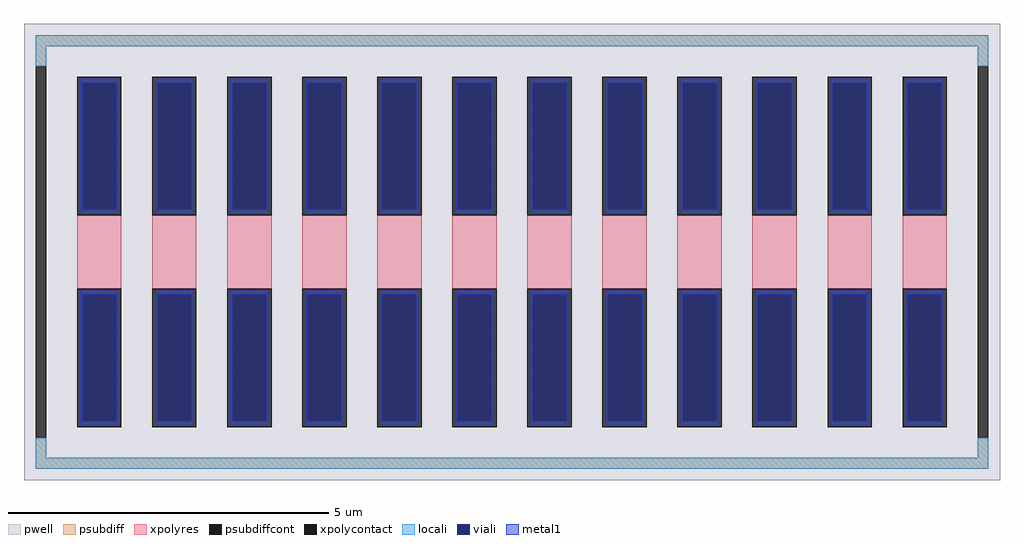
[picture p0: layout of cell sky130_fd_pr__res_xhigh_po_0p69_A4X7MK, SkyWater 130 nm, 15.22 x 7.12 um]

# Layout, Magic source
magic
tech sky130A
magscale 1 2
<< pwell >>
rect -1522 -712 1522 712
<< psubdiff >>
rect -1486 642 1486 676
rect -1486 580 -1452 642
rect 1452 580 1486 642
rect -1486 -642 -1452 -580
rect 1452 -642 1486 -580
rect -1486 -676 1486 -642
<< psubdiffcont >>
rect -1486 -580 -1452 580
rect 1452 -580 1486 580
<< xpolycontact >>
rect -1356 114 -1218 546
rect -1356 -546 -1218 -114
rect -1122 114 -984 546
rect -1122 -546 -984 -114
rect -888 114 -750 546
rect -888 -546 -750 -114
rect -654 114 -516 546
rect -654 -546 -516 -114
rect -420 114 -282 546
rect -420 -546 -282 -114
rect -186 114 -48 546
rect -186 -546 -48 -114
rect 48 114 186 546
rect 48 -546 186 -114
rect 282 114 420 546
rect 282 -546 420 -114
rect 516 114 654 546
rect 516 -546 654 -114
rect 750 114 888 546
rect 750 -546 888 -114
rect 984 114 1122 546
rect 984 -546 1122 -114
rect 1218 114 1356 546
rect 1218 -546 1356 -114
<< xpolyres >>
rect -1356 -114 -1218 114
rect -1122 -114 -984 114
rect -888 -114 -750 114
rect -654 -114 -516 114
rect -420 -114 -282 114
rect -186 -114 -48 114
rect 48 -114 186 114
rect 282 -114 420 114
rect 516 -114 654 114
rect 750 -114 888 114
rect 984 -114 1122 114
rect 1218 -114 1356 114
<< locali >>
rect -1486 642 1486 676
rect -1486 580 -1452 642
rect 1452 580 1486 642
rect -1486 -642 -1452 -580
rect 1452 -642 1486 -580
rect -1486 -676 1486 -642
<< viali >>
rect -1340 131 -1234 528
rect -1106 131 -1000 528
rect -872 131 -766 528
rect -638 131 -532 528
rect -404 131 -298 528
rect -170 131 -64 528
rect 64 131 170 528
rect 298 131 404 528
rect 532 131 638 528
rect 766 131 872 528
rect 1000 131 1106 528
rect 1234 131 1340 528
rect -1340 -528 -1234 -131
rect -1106 -528 -1000 -131
rect -872 -528 -766 -131
rect -638 -528 -532 -131
rect -404 -528 -298 -131
rect -170 -528 -64 -131
rect 64 -528 170 -131
rect 298 -528 404 -131
rect 532 -528 638 -131
rect 766 -528 872 -131
rect 1000 -528 1106 -131
rect 1234 -528 1340 -131
<< metal1 >>
rect -1346 528 -1228 540
rect -1346 131 -1340 528
rect -1234 131 -1228 528
rect -1346 119 -1228 131
rect -1112 528 -994 540
rect -1112 131 -1106 528
rect -1000 131 -994 528
rect -1112 119 -994 131
rect -878 528 -760 540
rect -878 131 -872 528
rect -766 131 -760 528
rect -878 119 -760 131
rect -644 528 -526 540
rect -644 131 -638 528
rect -532 131 -526 528
rect -644 119 -526 131
rect -410 528 -292 540
rect -410 131 -404 528
rect -298 131 -292 528
rect -410 119 -292 131
rect -176 528 -58 540
rect -176 131 -170 528
rect -64 131 -58 528
rect -176 119 -58 131
rect 58 528 176 540
rect 58 131 64 528
rect 170 131 176 528
rect 58 119 176 131
rect 292 528 410 540
rect 292 131 298 528
rect 404 131 410 528
rect 292 119 410 131
rect 526 528 644 540
rect 526 131 532 528
rect 638 131 644 528
rect 526 119 644 131
rect 760 528 878 540
rect 760 131 766 528
rect 872 131 878 528
rect 760 119 878 131
rect 994 528 1112 540
rect 994 131 1000 528
rect 1106 131 1112 528
rect 994 119 1112 131
rect 1228 528 1346 540
rect 1228 131 1234 528
rect 1340 131 1346 528
rect 1228 119 1346 131
rect -1346 -131 -1228 -119
rect -1346 -528 -1340 -131
rect -1234 -528 -1228 -131
rect -1346 -540 -1228 -528
rect -1112 -131 -994 -119
rect -1112 -528 -1106 -131
rect -1000 -528 -994 -131
rect -1112 -540 -994 -528
rect -878 -131 -760 -119
rect -878 -528 -872 -131
rect -766 -528 -760 -131
rect -878 -540 -760 -528
rect -644 -131 -526 -119
rect -644 -528 -638 -131
rect -532 -528 -526 -131
rect -644 -540 -526 -528
rect -410 -131 -292 -119
rect -410 -528 -404 -131
rect -298 -528 -292 -131
rect -410 -540 -292 -528
rect -176 -131 -58 -119
rect -176 -528 -170 -131
rect -64 -528 -58 -131
rect -176 -540 -58 -528
rect 58 -131 176 -119
rect 58 -528 64 -131
rect 170 -528 176 -131
rect 58 -540 176 -528
rect 292 -131 410 -119
rect 292 -528 298 -131
rect 404 -528 410 -131
rect 292 -540 410 -528
rect 526 -131 644 -119
rect 526 -528 532 -131
rect 638 -528 644 -131
rect 526 -540 644 -528
rect 760 -131 878 -119
rect 760 -528 766 -131
rect 872 -528 878 -131
rect 760 -540 878 -528
rect 994 -131 1112 -119
rect 994 -528 1000 -131
rect 1106 -528 1112 -131
rect 994 -540 1112 -528
rect 1228 -131 1346 -119
rect 1228 -528 1234 -131
rect 1340 -528 1346 -131
rect 1228 -540 1346 -528
<< properties >>
string FIXED_BBOX -1469 -659 1469 659
string gencell sky130_fd_pr__res_xhigh_po_0p69
string library sky130
string parameters w 0.690 l 1.3 m 1 nx 12 wmin 0.690 lmin 0.50 rho 2000 val 4.313k dummy 0 dw 0.0 term 188.2 sterm 0.0 caplen 0 wmax 0.690 guard 1 glc 1 grc 1 gtc 0 gbc 0 compatible {sky130_fd_pr__res_xhigh_po_0p35  sky130_fd_pr__res_xhigh_po_0p69 sky130_fd_pr__res_xhigh_po_1p41  sky130_fd_pr__res_xhigh_po_2p85 sky130_fd_pr__res_xhigh_po_5p73} snake 0 full_metal 1 n_guard 0 hv_guard 0 vias 1 viagb 0 viagt 0 viagl 0 viagr 0
<< end >>
